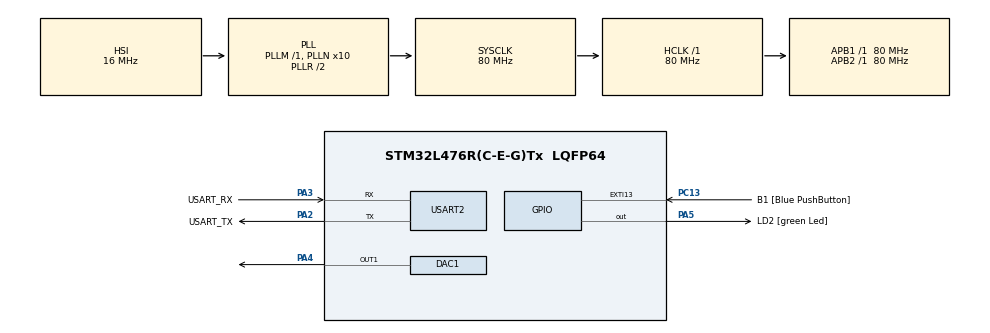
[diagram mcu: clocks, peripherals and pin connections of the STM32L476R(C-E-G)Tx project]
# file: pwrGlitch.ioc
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DAC1.DAC_OutputBuffer-DAC_OUT1=DAC_OUTPUTBUFFER_DISABLE
DAC1.DAC_SampleAndHold-DAC_OUT1=DAC_SAMPLEANDHOLD_DISABLE
DAC1.DAC_Trigger-DAC_OUT1=DAC_TRIGGER_NONE
Mcu.Family=STM32L4
Mcu.Name=STM32L476R(C-E-G)Tx
Mcu.Package=LQFP64
NVIC.PriorityGroup=NVIC_PRIORITYGROUP_4
PA13\ (JTMS-SWDIO).GPIO_Label=TMS
PA13\ (JTMS-SWDIO).Mode=Serial_Wire
PA13\ (JTMS-SWDIO).Signal=SYS_JTMS-SWDIO
PA14\ (JTCK-SWCLK).GPIO_Label=TCK
PA14\ (JTCK-SWCLK).Mode=Serial_Wire
PA14\ (JTCK-SWCLK).Signal=SYS_JTCK-SWCLK
PA2.GPIO_Label=USART_TX
PA2.GPIO_Mode=GPIO_MODE_AF_PP
PA2.GPIO_PuPd=GPIO_NOPULL
PA2.GPIO_Speed=GPIO_SPEED_FREQ_VERY_HIGH
PA2.Mode=Asynchronous
PA2.Signal=USART2_TX
PA3.GPIO_Label=USART_RX
PA3.GPIO_Mode=GPIO_MODE_AF_PP
PA3.GPIO_PuPd=GPIO_NOPULL
PA3.GPIO_Speed=GPIO_SPEED_FREQ_VERY_HIGH
PA3.Mode=Asynchronous
PA3.Signal=USART2_RX
PA4.Signal=COMP_DAC11_group
PA5.GPIO_Label=LD2 [green Led]
PA5.GPIO_ModeDefaultOutputPP=GPIO_MODE_OUTPUT_PP
PA5.GPIO_PuPd=GPIO_NOPULL
PA5.GPIO_Speed=GPIO_SPEED_FREQ_LOW
PA5.Signal=GPIO_Output
PB3\ (JTDO-TRACESWO).GPIO_Label=SWO
PB3\ (JTDO-TRACESWO).Signal=SYS_JTDO-SWO
PC13.GPIO_Label=B1 [Blue PushButton]
PC13.GPIO_ModeDefaultEXTI=GPIO_MODE_IT_FALLING
PC13.GPIO_PuPd=GPIO_NOPULL
PC13.Signal=GPXTI13
PC14-OSC32_IN\ (PC14).Mode=LSE-External-Oscillator
PC14-OSC32_IN\ (PC14).Signal=RCC_OSC32_IN
PC15-OSC32_OUT\ (PC15).Mode=LSE-External-Oscillator
PC15-OSC32_OUT\ (PC15).Signal=RCC_OSC32_OUT
PH0-OSC_IN\ (PH0).Signal=RCC_OSC_IN
PH1-OSC_OUT\ (PH1).Signal=RCC_OSC_OUT
ProjectManager.HeapSize=0x200
ProjectManager.StackSize=0x400
ProjectManager.TargetToolchain=STM32CubeIDE
RCC.ADCFreq_Value=64000000
RCC.AHBFreq_Value=80000000
RCC.APB1Freq_Value=80000000
RCC.APB1TimFreq_Value=80000000
RCC.APB2Freq_Value=80000000
RCC.APB2TimFreq_Value=80000000
RCC.CortexFreq_Value=80000000
RCC.HCLKFreq_Value=80000000
RCC.HSE_VALUE=8000000
RCC.HSI_VALUE=16000000
RCC.MSI_VALUE=4000000
RCC.PLLN=10
RCC.PLLSourceVirtual=RCC_PLLSOURCE_HSI
RCC.PREFETCH_ENABLE=1
RCC.SYSCLKFreq_VALUE=80000000
RCC.SYSCLKSource=RCC_SYSCLKSOURCE_PLLCLK
RCC.USBFreq_Value=64000000
RCC.VCOOutputFreq_Value=160000000
SH.COMP_DAC11_group.0=DAC1_OUT1,DAC_OUT1
USART2.VirtualMode-Asynchronous=VM_ASYNC
board=NUCLEO-L476RG

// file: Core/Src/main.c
/* USER CODE BEGIN Header */
/**
  ******************************************************************************
  * @file           : main.c
  * @brief          : Main program body
  ******************************************************************************
  * @attention
  *
  * Copyright (c) 2022 STMicroelectronics.
  * All rights reserved.
  *
  * This software is licensed under terms that can be found in the LICENSE file
  * in the root directory of this software component.
  * If no LICENSE file comes with this software, it is provided AS-IS.
  *
  ******************************************************************************
  */
/* USER CODE END Header */
#include "main.h"
#include "dac.h"
#include "usart.h"
#include "gpio.h"
#include <stdlib.h>

void SystemClock_Config(void);

/* USER CODE BEGIN 0 */
int __io_putchar(int ch)
{
    HAL_UART_Transmit(&huart2, (uint8_t*)&ch, 1, HAL_MAX_DELAY);
    return 1;
}
/* USER CODE END 0 */

int main(void)
{

  /* MCU Configuration--------------------------------------------------------*/

  /* Reset of all peripherals, Initializes the Flash interface and the Systick. */
  HAL_Init();

  /* Configure the system clock */
  SystemClock_Config();

  /* Initialize all configured peripherals */
  MX_GPIO_Init();
  MX_USART2_UART_Init();
  MX_DAC1_Init();
  HAL_DAC_Start(&hdac1,DAC_CHANNEL_1);
  HAL_DAC_SetValue(&hdac1, DAC_CHANNEL_1, DAC_ALIGN_12B_R, 0x00FF);
  /* USER CODE BEGIN 2 */

  uint16_t setDAC(char* userInput)
  {

	  char s[3] = {userInput[0],userInput[1],userInput[2]};

	  int IntVal=0;

	  uint16_t value2set;

	  IntVal = atoi(s);

	  value2set = (IntVal * 4095)/330;

	  HAL_DAC_SetValue(&hdac1, DAC_CHANNEL_1, DAC_ALIGN_12B_R, value2set);
  }

#define LINE_MAX_LENGTH	5

static char line_buffer[LINE_MAX_LENGTH + 1];
static uint32_t line_length;

void line_append(uint8_t value)
{
	if (value == '\r' || value == '\n') {
		// odebraliśmy znak końca linii
		if (line_length > 0) {
			// jeśli bufor nie jest pusty to dodajemy 0 na końcu linii
			line_buffer[line_length] = '\0';
			// przetwarzamy dane

			setDAC(line_buffer);
			// zaczynamy zbieranie danych od nowa
			 memset(line_buffer, 0, LINE_MAX_LENGTH + 1);
			line_length = 0;
		}
	}
	else {
		if (line_length >= LINE_MAX_LENGTH) {
			// za dużo danych, usuwamy wszystko co odebraliśmy dotychczas
			memset(line_buffer, 0, LINE_MAX_LENGTH + 1);
			line_length = 0;
		}
		// dopisujemy wartość do bufora
		line_buffer[line_length++] = value;
	}
}
  /* USER CODE END 2 */

  /* Infinite loop */
  /* USER CODE BEGIN WHILE */
  while (1)
  {
	  	  uint8_t value;
	 	  if (HAL_UART_Receive(&huart2, &value, 1, 0) == HAL_OK)
	 	  {
	 		  line_append(value);
	 	  	  HAL_GPIO_TogglePin(LD2_GPIO_Port,LD2_Pin);
	 	  }

    /* USER CODE END WHILE */

  }
}

void SystemClock_Config(void)
{
  RCC_OscInitTypeDef RCC_OscInitStruct = {0};
  RCC_ClkInitTypeDef RCC_ClkInitStruct = {0};

  /** Configure the main internal regulator output voltage
  */
  if (HAL_PWREx_ControlVoltageScaling(PWR_REGULATOR_VOLTAGE_SCALE1) != HAL_OK)
  {
    Error_Handler();
  }

  /** Initializes the RCC Oscillators according to the specified parameters
  * in the RCC_OscInitTypeDef structure.
  */
  RCC_OscInitStruct.OscillatorType = RCC_OSCILLATORTYPE_HSI;
  RCC_OscInitStruct.HSIState = RCC_HSI_ON;
  RCC_OscInitStruct.HSICalibrationValue = RCC_HSICALIBRATION_DEFAULT;
  RCC_OscInitStruct.PLL.PLLState = RCC_PLL_ON;
  RCC_OscInitStruct.PLL.PLLSource = RCC_PLLSOURCE_HSI;
  RCC_OscInitStruct.PLL.PLLM = 1;
  RCC_OscInitStruct.PLL.PLLN = 10;
  RCC_OscInitStruct.PLL.PLLP = RCC_PLLP_DIV7;
  RCC_OscInitStruct.PLL.PLLQ = RCC_PLLQ_DIV2;
  RCC_OscInitStruct.PLL.PLLR = RCC_PLLR_DIV2;
  if (HAL_RCC_OscConfig(&RCC_OscInitStruct) != HAL_OK)
  {
    Error_Handler();
  }

  /** Initializes the CPU, AHB and APB buses clocks
  */
  RCC_ClkInitStruct.ClockType = RCC_CLOCKTYPE_HCLK|RCC_CLOCKTYPE_SYSCLK
                              |RCC_CLOCKTYPE_PCLK1|RCC_CLOCKTYPE_PCLK2;
  RCC_ClkInitStruct.SYSCLKSource = RCC_SYSCLKSOURCE_PLLCLK;
  RCC_ClkInitStruct.AHBCLKDivider = RCC_SYSCLK_DIV1;
  RCC_ClkInitStruct.APB1CLKDivider = RCC_HCLK_DIV1;
  RCC_ClkInitStruct.APB2CLKDivider = RCC_HCLK_DIV1;

  if (HAL_RCC_ClockConfig(&RCC_ClkInitStruct, FLASH_LATENCY_4) != HAL_OK)
  {
    Error_Handler();
  }
}

void Error_Handler(void)
{
  __disable_irq();
  while (1)
  {
  }
}
